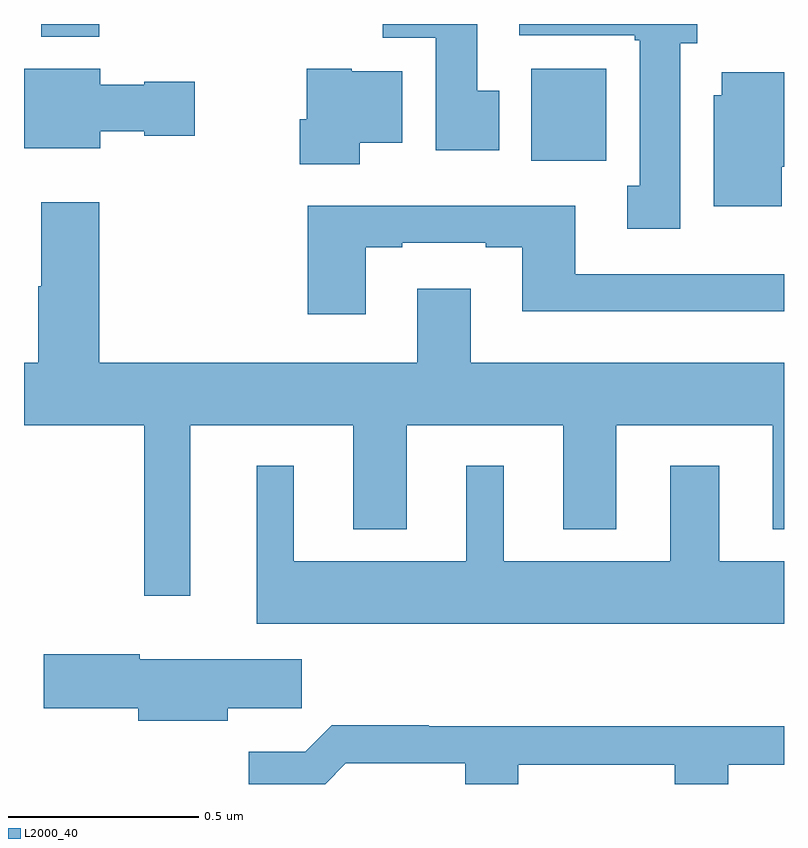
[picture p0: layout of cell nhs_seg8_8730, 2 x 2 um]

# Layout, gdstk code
import gdstk
lib = gdstk.Library(unit=1e-6, precision=1e-09)
def R(c, l, rs):  # rectangles x0, y0, x1, y1
    for r in rs: c.add(gdstk.rectangle(r[:2], r[2:], *l))
def P(c, l, *ps):  # polygons
    for p in ps: c.add(gdstk.Polygon(p, *l))
L2000_40 = (2000, 40)

nhs_seg8_8730 = lib.new_cell('nhs_seg8_8730')
R(nhs_seg8_8730, L2000_40, [(228.335,1106.54,228.532,1106.782), (227.045,1106.867,227.198,1106.9)])
P(nhs_seg8_8730, L2000_40, [(228.25,1106.724),(228.193,1106.724),(228.193,1106.9),(227.944,1106.9),(227.944,1106.864),(228.083,1106.864),(228.083,1106.568),(228.25,1106.568)],
  [(228.727,1106.85),(228.772,1106.85),(228.772,1106.9),(228.303,1106.9),(228.303,1106.87),(228.607,1106.87),(228.607,1106.857),(228.62,1106.857),(228.62,1106.474),(228.587,1106.474),(228.587,1106.361),(228.727,1106.361)],
  [(227.884,1106.588),(227.995,1106.588),(227.995,1106.776),(227.862,1106.776),(227.862,1106.782),(227.744,1106.782),(227.744,1106.649),(227.726,1106.649),(227.726,1106.531),(227.884,1106.531)],
  [(227.2,1106.618),(227.316,1106.618),(227.316,1106.606),(227.449,1106.606),(227.449,1106.748),(227.316,1106.748),(227.316,1106.74),(227.2,1106.74),(227.2,1106.782),(227,1106.782),(227,1106.573),(227.2,1106.573)],
  [(228.994,1106.524),(229,1106.524),(229,1106.773),(228.836,1106.773),(228.836,1106.712),(228.815,1106.712),(228.815,1106.42),(228.994,1106.42)],
  [(227.437,1105.844),(227.867,1105.844),(227.867,1105.571),(228.007,1105.571),(228.007,1105.844),(228.419,1105.844),(228.419,1105.571),(228.559,1105.571),(228.559,1105.844),(228.971,1105.844),(228.971,1105.571),(229,1105.571),(229,1106.008),(228.175,1106.008),(228.175,1106.203),(228.035,1106.203),(228.035,1106.008),(227.198,1106.008),(227.198,1106.431),(227.045,1106.431),(227.045,1106.21),(227.038,1106.21),(227.038,1106.008),(227,1106.008),(227,1105.844),(227.316,1105.844),(227.316,1105.395),(227.437,1105.395)],
  [(227.899,1106.313),(227.995,1106.313),(227.995,1106.325),(228.215,1106.325),(228.215,1106.313),(228.311,1106.313),(228.311,1106.144),(229,1106.144),(229,1106.241),(228.451,1106.241),(228.451,1106.422),(227.747,1106.422),(227.747,1106.136),(227.899,1106.136)],
  [(229,1105.486),(228.829,1105.486),(228.829,1105.738),(228.701,1105.738),(228.701,1105.486),(228.262,1105.486),(228.262,1105.738),(228.164,1105.738),(228.164,1105.486),(227.71,1105.486),(227.71,1105.738),(227.612,1105.738),(227.612,1105.322),(229,1105.322)],
  [(227.536,1105.099),(227.731,1105.099),(227.731,1105.228),(227.304,1105.228),(227.304,1105.241),(227.052,1105.241),(227.052,1105.099),(227.3,1105.099),(227.3,1105.067),(227.536,1105.067)],
  [(227.847,1104.954),(228.161,1104.954),(228.161,1104.9),(228.301,1104.9),(228.301,1104.951),(228.713,1104.951),(228.713,1104.9),(228.853,1104.9),(228.853,1104.951),(229,1104.951),(229,1105.052),(228.065,1105.052),(228.065,1105.055),(227.81,1105.055),(227.74,1104.985),(227.591,1104.985),(227.591,1104.9),(227.793,1104.9)])

lib.write_gds('nhs_seg8_8730.gds')
